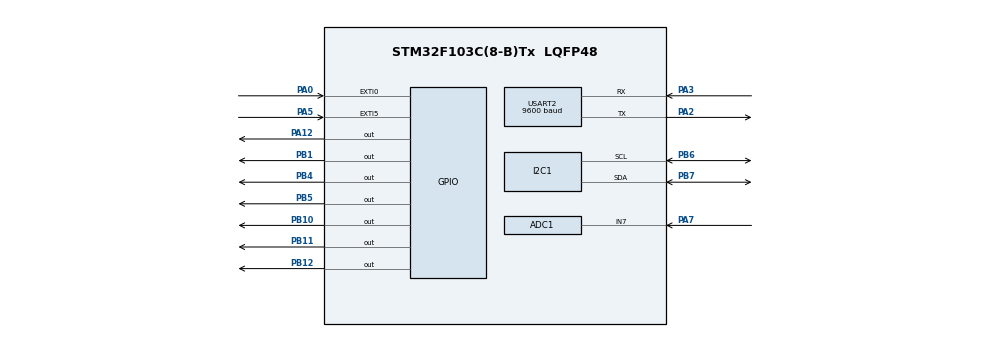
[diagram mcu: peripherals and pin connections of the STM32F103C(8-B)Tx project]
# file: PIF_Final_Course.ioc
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ADC1.Channel-0\#ChannelRegularConversion=ADC_CHANNEL_7
ADC1.NbrOfConversionFlag=1
ADC1.Rank-0\#ChannelRegularConversion=1
ADC1.SamplingTime-0\#ChannelRegularConversion=ADC_SAMPLETIME_1CYCLE_5
ADC1.master=1
Dma.Request0=USART2_RX
Dma.USART2_RX.0.Direction=DMA_PERIPH_TO_MEMORY
Dma.USART2_RX.0.Instance=DMA1_Channel6
Dma.USART2_RX.0.MemDataAlignment=DMA_MDATAALIGN_BYTE
Dma.USART2_RX.0.MemInc=DMA_MINC_ENABLE
Dma.USART2_RX.0.Mode=DMA_NORMAL
Dma.USART2_RX.0.PeriphDataAlignment=DMA_PDATAALIGN_BYTE
Dma.USART2_RX.0.PeriphInc=DMA_PINC_DISABLE
Dma.USART2_RX.0.Priority=DMA_PRIORITY_LOW
Mcu.Family=STM32F1
Mcu.Name=STM32F103C(8-B)Tx
Mcu.Package=LQFP48
NVIC.DMA1_Channel6_IRQn=true\:0\:0\:false\:false\:true\:false\:true\:true
NVIC.EXTI0_IRQn=true\:1\:0\:true\:false\:true\:true\:true\:true
NVIC.EXTI9_5_IRQn=true\:2\:0\:true\:false\:true\:true\:true\:true
NVIC.PriorityGroup=NVIC_PRIORITYGROUP_4
PA0-WKUP.GPIO_PuPd=GPIO_NOPULL
PA0-WKUP.Signal=GPXTI0
PA12.Signal=GPIO_Output
PA13.Mode=Serial_Wire
PA13.Signal=SYS_JTMS-SWDIO
PA14.Mode=Serial_Wire
PA14.Signal=SYS_JTCK-SWCLK
PA2.Mode=Asynchronous
PA2.Signal=USART2_TX
PA3.Mode=Asynchronous
PA3.Signal=USART2_RX
PA5.GPIO_PuPd=GPIO_NOPULL
PA5.Signal=GPXTI5
PA7.Signal=ADCx_IN7
PB1.Signal=GPIO_Output
PB10.Signal=GPIO_Output
PB11.Signal=GPIO_Output
PB12.Signal=GPIO_Output
PB4.Signal=GPIO_Output
PB5.Signal=GPIO_Output
PB6.Mode=I2C
PB6.Signal=I2C1_SCL
PB7.Mode=I2C
PB7.Signal=I2C1_SDA
PD0-OSC_IN.Mode=HSE-External-Oscillator
PD0-OSC_IN.Signal=RCC_OSC_IN
PD1-OSC_OUT.Mode=HSE-External-Oscillator
PD1-OSC_OUT.Signal=RCC_OSC_OUT
ProjectManager.HeapSize=0x200
ProjectManager.StackSize=0x400
ProjectManager.TargetToolchain=STM32CubeIDE
RCC.APB1Freq_Value=8000000
RCC.APB2Freq_Value=8000000
SH.ADCx_IN7.0=ADC1_IN7,IN7
USART2.BaudRate=9600
USART2.VirtualMode=VM_ASYNC
board=custom

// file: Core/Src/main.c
/* USER CODE BEGIN Header */
/**
  ******************************************************************************
  * @file           : main.c
  * @brief          : Main program body
  ******************************************************************************
  * @attention
  *
  * Copyright (c) 2023 STMicroelectronics.
  * All rights reserved.
  *
  * This software is licensed under terms that can be found in the LICENSE file
  * in the root directory of this software component.
  * If no LICENSE file comes with this software, it is provided AS-IS.
  *
  ******************************************************************************
  */
/* The program belong to Nhan , Quoc, Huy Le, Huy Nguyen*/
/* USER CODE END Header */
#include "main.h"

/* USER CODE BEGIN Includes */
#include "string.h"
#include "lcd_i2c.h"
/* USER CODE END Includes */

ADC_HandleTypeDef hadc1;

I2C_HandleTypeDef hi2c1;

UART_HandleTypeDef huart2;
DMA_HandleTypeDef hdma_usart2_rx;

/* USER CODE BEGIN PV */
LCD_I2C_HandleTypeDef p_LCD;
/* USER CODE END PV */

void SystemClock_Config (void);
static void MX_GPIO_Init (void);
static void MX_DMA_Init (void);
static void MX_I2C1_Init (void);
static void MX_USART2_UART_Init (void);
static void MX_ADC1_Init (void);

/* USER CODE BEGIN 0 */
//Phần dưới là khai báo + viết hàm xuất trên solenoid
uint8_t UART1_rxBuffer[1024] = {0};

//char data[1024]
uint8_t input;

int * output;

int dot[63][6] =
		{{0,0,0,0,0,0},{0,1,1,0,1,1},{0,0,0,1,0,0},{0,1,0,1,1,1},{1,1,1,0,0,1},{1,1,0,0,0,1},{1,1,1,0,1,1},{1,0,1,1,1,1},{0,1,1,1,1,1},{1,0,0,0,0,1},{0,1,0,0,1,1} ,{0,0,0,0,0,1} ,{0,0,0,0,1,1},{0,1,0,0,0,1},{0,1,0,0,1,0},
        {0,0,0,1,1,1},{0,0,1,0,0,0},{0,0,1,0,1,0},{0,0,1,1,0,0},{0,0,1,1,0,1},{0,0,1,0,0,1},{0,0,1,1,1,0},{0,0,1,1,1,1},{0,0,1,0,1,1},{0,0,0,1,1,0},{1,0,0,1,0,1},{0,0,0,1,0,1},{1,0,1,0,0,1},{1,1,1,1,1,1},{0,1,0,1,1,0},{1,1,0,1,0,1},
        {0,1,0,0,0,0},{1,0,0,0,0,0},{1,0,1,0,0,0},{1,1,0,0,0,0},{1,1,0,1,0,0},{1,0,0,1,0,0},{1,1,1,0,0,0},{1,1,1,1,0,0},{1,0,1,1,0,0},{0,1,1,0,0,0},{0,1,1,1,0,0},{1,0,0,0,1,0},{1,0,1,0,1,0},{1,1,0,0,1,0},{1,1,0,1,1,0},{1,0,0,1,1,0},{1,1,1,0,1,0},{1,1,1,1,1,0},{1,0,1,1,1,0},{0,1,1,0,1,0},{0,1,1,1,1,0},{1,0,0,0,1,1},{1,0,1,0,1,1},{0,1,1,1,0,1},{1,1,0,0,1,1},{1,1,0,1,1,1},{1,0,0,1,1,1},
        {0,1,1,0,0,1},{1,0,1,1,0,1},{1,1,1,1,0,1},{0,1,0,1,0,0},{0,1,0,1,0,1}};

char ascii[63] = {' ', '!', '"', '#', '$', '%', '&', '(', ')', '*', '+', ',', '-', '.', '/',
		'0', '1', '2', '3', '4', '5', '6', '7', '8', '9', ':', ';', '<', '=', '>', '?', '@',
		'a', 'b', 'c', 'd', 'e', 'f', 'g', 'h', 'i', 'j', 'k', 'l', 'm', 'n', 'o', 'p', 'q',
		'r', 's', 't', 'u', 'v', 'w', 'x', 'y', 'z', '[', '\\', ']', '^', '_'};

void
Display_by_Solenoid (int* output)
{
	if (output[0] == 0)
	{
		HAL_GPIO_WritePin(GPIOB, GPIO_PIN_1, 1);
	}

	if (output[1] == 0)
	{
		HAL_GPIO_WritePin(GPIOB, GPIO_PIN_5, 1);
	}

	if (output[2] == 0)
	{
		HAL_GPIO_WritePin(GPIOB, GPIO_PIN_10, 1);
	}

	if (output[3] == 0)
	{
		HAL_GPIO_WritePin(GPIOB, GPIO_PIN_4, 1);
	}

	if (output[4] == 0)
	{
		HAL_GPIO_WritePin(GPIOB, GPIO_PIN_11,1);
	}

	if (output[5] == 0)
	{
		HAL_GPIO_WritePin(GPIOA, GPIO_PIN_12, 1);
	}

}

void
Capital_Letter ()
{
	HAL_GPIO_WritePin (GPIOB, GPIO_PIN_5, 1);
	HAL_GPIO_WritePin (GPIOA, GPIO_PIN_12, 1);
	//HAL_Delay(1000);
}

void
number ()
{
	HAL_GPIO_WritePin (GPIOB, GPIO_PIN_1,1);
	HAL_GPIO_WritePin (GPIOB, GPIO_PIN_10,1);
	//HAL_Delay(1000);
}

void
chuyen ()
{
	HAL_GPIO_WritePin (GPIOB, GPIO_PIN_1,0);
	HAL_GPIO_WritePin (GPIOB, GPIO_PIN_5,0);
	HAL_GPIO_WritePin (GPIOB, GPIO_PIN_10,0);
	HAL_GPIO_WritePin (GPIOB, GPIO_PIN_4,0);
	HAL_GPIO_WritePin (GPIOB, GPIO_PIN_11,0);
	HAL_GPIO_WritePin (GPIOA, GPIO_PIN_12,0);
	//HAL_Delay(50);
}

//Phần code dưới là xử lý thông tin bluetooth
uint8_t state_send = 0;
uint8_t state_pause = 0;
uint8_t j = 0;

//Khai báo biến chống rung nút nhấn
uint8_t is_debounced1 = 1;
uint32_t debounce_timer1 = 0;

uint8_t is_debounced2 = 1;
uint32_t debounce_timer2 = 0;

void
HAL_GPIO_EXTI_Callback (uint16_t GPIO_Pin)
{
	//saving data
	if(GPIO_Pin == GPIO_PIN_5)
	{
		//if(state_send == 2) state_send = 0;
		//else state_send +=1;
		is_debounced2 = 0;
		debounce_timer2 = HAL_GetTick();
	}

	//pausing data
	else if(GPIO_Pin == GPIO_PIN_0)
	{
		//if(state_pause == 2) state_pause = 0;
		//else state_pause +=1;
		is_debounced1 = 0;
		debounce_timer1 = HAL_GetTick();
	}
}

void
HAL_UART_RxCpltCallback (UART_HandleTypeDef *huart)
{
	HAL_UART_Receive_DMA (&huart2, UART1_rxBuffer, 12);
		  /*if(huart->Instance==huart2.Instance)
		  {
			data = Rx_Buf;
			if(Rx_Buf == 46){
				//Kiểm tra xem có ký tự kết thúc văn bản ./. chưa. Nếu đã kết thúc thì status2 = 1;
				if(status1 == 93){
					if(status == 46){
						status2 = 1;
						status = 0;
						status1 = 0;
					}
				}
			}
			else{
				status1 +=Rx_Buf;
				status +=Rx_Buf;
			}
			HAL_UART_Receive_IT(&huart1,&Rx_Buf,1);
		  }*/
}

void
Saving ()
{
	//try to include a message like: char message[300] "Book mark index is 2024"
	char pData[5] = "Saved";
	HAL_UART_Transmit(&huart2, (uint8_t *)pData, 5 , 1000);

	 	 /*lcd_clear(&p_LCD);
	 	 lcd_i2c_init(&p_LCD, &hi2c1, 16, 2, 0x27<<1);
	 	 lcd_set_cursor(&p_LCD, 0, 0);
	 	 lcd_send_string(&p_LCD, "Saved");*/
}

/* USER CODE END 0 */

int
main (void)
{
  /* USER CODE BEGIN 1 */

//B1: 1; B8: 2; B10: 3; B4: 4; B11: 5; B3: 6

  /* USER CODE END 1 */

  /* MCU Configuration--------------------------------------------------------*/

  /* Reset of all peripherals, Initializes the Flash interface and the Systick. */
  HAL_Init();

  /* Configure the system clock */
  SystemClock_Config();

  /* Initialize all configured peripherals */
  MX_GPIO_Init();
  MX_DMA_Init();
  MX_I2C1_Init();
  MX_USART2_UART_Init();
  MX_ADC1_Init();
  /* USER CODE BEGIN 2 */
  //HAL_UART_Receive_IT(&huart1,&Rx_Buf,1);
  uint32_t timing = HAL_GetTick();
  uint8_t capital_letter = 0;
  uint8_t number_state = 0;
  int t = 0;

  HAL_UART_Receive_DMA (&huart2, UART1_rxBuffer, 12);
  lcd_i2c_init (&p_LCD, &hi2c1, 16, 2, 0x27<<1);
  lcd_set_cursor (&p_LCD, 0, 0);
  lcd_send_string (&p_LCD, "Started reading");
  HAL_Delay (2000);
  lcd_clear (&p_LCD);

  //Tốc độ
  //float rate=HAL_ADC_GetValue(&hadc1);
  int speed = 2000;
  /*if(rate <= 1000) speed = 2000;
  	 else if(rate <= 1000) speed = 1000;
	 else if(rate <= 2000) speed = 500;
	 else speed = 200;
	*/
  /* USER CODE END 2 */

  /* Infinite loop */
  while (1)
  {

    /* USER CODE BEGIN 3 */
	//Chong rung ngat
	if ((is_debounced1 == 0) && ((HAL_GetTick() - debounce_timer1) >= 100))
	{
	  	is_debounced1 = 1;
	  	HAL_GPIO_TogglePin (GPIOC, GPIO_PIN_13);
	  	if(state_pause == 2)
	  	{
	  		state_pause = 0;
	  	}

	  	else
	  	{
	  		state_pause += 1;
	  	}
	}

	//In du lieu
	if (state_pause == 0)
	{
		lcd_set_cursor (&p_LCD,0,0);
		lcd_clear (&p_LCD);
	  	for (int i = 0; i < strlen ((const char *) UART1_rxBuffer); i++)
	  	{
	  		input = UART1_rxBuffer[t];
				//printing in LCD
			lcd_i2c_init(&p_LCD, &hi2c1, 16, 2, 0x27<<1);
			if (i > 31)
			{
				lcd_set_cursor(&p_LCD,0,0);
				lcd_clear(&p_LCD);
				i = -1;
				continue;
			}

			else if (i>15)
			{
				lcd_set_cursor(&p_LCD, i-16, 1);
				lcd_send_data(&p_LCD, UART1_rxBuffer[t]);
			}

			else
			{
				lcd_set_cursor(&p_LCD, i, 0);
				lcd_send_data(&p_LCD, UART1_rxBuffer[t]);
			}

			//printing by solenoid
			if ((input >= 65) && (input <= 90))
			{
				input += 32;
				capital_letter = 1;
			}

			else if ((input >= '0') && (input <= '9'))
			{
				number_state = 1;
				input += 49;
			}

			for (int j=0; j < sizeof(ascii);j++)
			{
				if (input == ascii[j])
				{
					output = dot[j];
					if (capital_letter == 1)
					{
						while ((HAL_GetTick() - timing) <= speed / 2) Capital_Letter();
						timing = HAL_GetTick();
					}

					else if (number_state == 1)
					{
						while ((HAL_GetTick() - timing) <= speed / 2) number();
						timing = HAL_GetTick();
					}

					while ((HAL_GetTick() - timing) <= speed)
					{
						Display_by_Solenoid(output);
					}

					timing = HAL_GetTick();

							//transition
					while ((HAL_GetTick() - timing) <= 50) chuyen();

					timing = HAL_GetTick();
					break;
					}
				}
	  	//move to next character
	  		t++;

	  		if ((is_debounced1 == 0) && ((HAL_GetTick() - debounce_timer1) >= 100))
	  		{
	  			is_debounced1 = 1;
	  			HAL_GPIO_TogglePin (GPIOC, GPIO_PIN_13);
	  			if(state_pause == 2)
	  			{
	  				state_pause = 0;
	  			}

	  			else
	  			{
	  				state_pause += 1;
	  			}
	  		}

	  		if (state_pause == 1)
	  		{
	     	  	lcd_set_cursor(&p_LCD,0,0);
	     	  	lcd_clear(&p_LCD);
	     	  	lcd_send_string(&p_LCD, "Pausing");
	     	  	break;
	  		}

	  		if ((is_debounced2 == 0) && ((HAL_GetTick() - debounce_timer2) >= 100))
	  		{
	  			is_debounced2 = 1;
	  			HAL_GPIO_TogglePin (GPIOC, GPIO_PIN_13);
	  			if(state_send == 2) state_send = 0;
	  			else state_send += 1;
	  		}

	  		if (state_send == 1)
	  		{
	  			Saving();
	  		}

	  		if (t == strlen((const char *) UART1_rxBuffer))
	  		{
				t = 0;
				lcd_set_cursor (&p_LCD, 0, 0);
				lcd_clear (&p_LCD);
				lcd_send_string (&p_LCD, "Finish reading");
				break;
	  		}
	  	}

	  	while (state_pause == 1){
	  		lcd_set_cursor(&p_LCD,0,0);
	  		lcd_clear(&p_LCD);
	  		lcd_send_string(&p_LCD, "Pausing");

	  		if (state_send == 1)
	  		{
	  			Saving();
	  		}

	  		if ((is_debounced1 == 0) && ((HAL_GetTick() - debounce_timer1) >= 100))
	  		{
	  			is_debounced1 = 1;
	  			HAL_GPIO_TogglePin(GPIOC, GPIO_PIN_13);
	  			if(state_pause == 2)
	  			{
	  				state_pause = 0;
	  			}

	  			else
	  			{
	  				state_pause +=1;
	  			}
	  		}

	  		if (state_pause == 0)
	  		{
	  			continue;
	  		}
	  	}
	}
  }
  /* USER CODE END 3 */
}

void SystemClock_Config(void)
{
  RCC_OscInitTypeDef RCC_OscInitStruct = {0};
  RCC_ClkInitTypeDef RCC_ClkInitStruct = {0};
  RCC_PeriphCLKInitTypeDef PeriphClkInit = {0};

  /** Initializes the RCC Oscillators according to the specified parameters
  * in the RCC_OscInitTypeDef structure.
  */
  RCC_OscInitStruct.OscillatorType = RCC_OSCILLATORTYPE_HSI;
  RCC_OscInitStruct.HSIState = RCC_HSI_ON;
  RCC_OscInitStruct.HSICalibrationValue = RCC_HSICALIBRATION_DEFAULT;
  RCC_OscInitStruct.PLL.PLLState = RCC_PLL_NONE;
  if (HAL_RCC_OscConfig(&RCC_OscInitStruct) != HAL_OK)
  {
    Error_Handler();
  }

  /** Initializes the CPU, AHB and APB buses clocks
  */
  RCC_ClkInitStruct.ClockType = RCC_CLOCKTYPE_HCLK|RCC_CLOCKTYPE_SYSCLK
                              |RCC_CLOCKTYPE_PCLK1|RCC_CLOCKTYPE_PCLK2;
  RCC_ClkInitStruct.SYSCLKSource = RCC_SYSCLKSOURCE_HSI;
  RCC_ClkInitStruct.AHBCLKDivider = RCC_SYSCLK_DIV1;
  RCC_ClkInitStruct.APB1CLKDivider = RCC_HCLK_DIV1;
  RCC_ClkInitStruct.APB2CLKDivider = RCC_HCLK_DIV1;

  if (HAL_RCC_ClockConfig(&RCC_ClkInitStruct, FLASH_LATENCY_0) != HAL_OK)
  {
    Error_Handler();
  }
  PeriphClkInit.PeriphClockSelection = RCC_PERIPHCLK_ADC;
  PeriphClkInit.AdcClockSelection = RCC_ADCPCLK2_DIV2;
  if (HAL_RCCEx_PeriphCLKConfig(&PeriphClkInit) != HAL_OK)
  {
    Error_Handler();
  }
}

static void MX_ADC1_Init(void)
{

  ADC_ChannelConfTypeDef sConfig = {0};

  /** Common config
  */
  hadc1.Instance = ADC1;
  hadc1.Init.ScanConvMode = ADC_SCAN_DISABLE;
  hadc1.Init.ContinuousConvMode = DISABLE;
  hadc1.Init.DiscontinuousConvMode = DISABLE;
  hadc1.Init.ExternalTrigConv = ADC_SOFTWARE_START;
  hadc1.Init.DataAlign = ADC_DATAALIGN_RIGHT;
  hadc1.Init.NbrOfConversion = 1;
  if (HAL_ADC_Init(&hadc1) != HAL_OK)
  {
    Error_Handler();
  }

  /** Configure Regular Channel
  */
  sConfig.Channel = ADC_CHANNEL_7;
  sConfig.Rank = ADC_REGULAR_RANK_1;
  sConfig.SamplingTime = ADC_SAMPLETIME_1CYCLE_5;
  if (HAL_ADC_ConfigChannel(&hadc1, &sConfig) != HAL_OK)
  {
    Error_Handler();
  }

}

static void MX_I2C1_Init(void)
{

  hi2c1.Instance = I2C1;
  hi2c1.Init.ClockSpeed = 100000;
  hi2c1.Init.DutyCycle = I2C_DUTYCYCLE_2;
  hi2c1.Init.OwnAddress1 = 0;
  hi2c1.Init.AddressingMode = I2C_ADDRESSINGMODE_7BIT;
  hi2c1.Init.DualAddressMode = I2C_DUALADDRESS_DISABLE;
  hi2c1.Init.OwnAddress2 = 0;
  hi2c1.Init.GeneralCallMode = I2C_GENERALCALL_DISABLE;
  hi2c1.Init.NoStretchMode = I2C_NOSTRETCH_DISABLE;
  if (HAL_I2C_Init(&hi2c1) != HAL_OK)
  {
    Error_Handler();
  }

}

static void MX_USART2_UART_Init(void)
{

  huart2.Instance = USART2;
  huart2.Init.BaudRate = 9600;
  huart2.Init.WordLength = UART_WORDLENGTH_8B;
  huart2.Init.StopBits = UART_STOPBITS_1;
  huart2.Init.Parity = UART_PARITY_NONE;
  huart2.Init.Mode = UART_MODE_TX_RX;
  huart2.Init.HwFlowCtl = UART_HWCONTROL_NONE;
  huart2.Init.OverSampling = UART_OVERSAMPLING_16;
  if (HAL_UART_Init(&huart2) != HAL_OK)
  {
    Error_Handler();
  }

}

static void MX_DMA_Init(void)
{

  /* DMA controller clock enable */
  __HAL_RCC_DMA1_CLK_ENABLE();

  /* DMA interrupt init */
  /* DMA1_Channel6_IRQn interrupt configuration */
  HAL_NVIC_SetPriority(DMA1_Channel6_IRQn, 0, 0);
  HAL_NVIC_EnableIRQ(DMA1_Channel6_IRQn);

}

static void MX_GPIO_Init(void)
{
  GPIO_InitTypeDef GPIO_InitStruct = {0};

  /* GPIO Ports Clock Enable */
  __HAL_RCC_GPIOD_CLK_ENABLE();
  __HAL_RCC_GPIOA_CLK_ENABLE();
  __HAL_RCC_GPIOB_CLK_ENABLE();

  /*Configure GPIO pin Output Level */
  HAL_GPIO_WritePin(GPIOB, GPIO_PIN_1|GPIO_PIN_10|GPIO_PIN_11|GPIO_PIN_12
                          |GPIO_PIN_4|GPIO_PIN_5, GPIO_PIN_RESET);

  /*Configure GPIO pin Output Level */
  HAL_GPIO_WritePin(GPIOA, GPIO_PIN_12, GPIO_PIN_RESET);

  /*Configure GPIO pins : PA0 PA5 */
  GPIO_InitStruct.Pin = GPIO_PIN_0|GPIO_PIN_5;
  GPIO_InitStruct.Mode = GPIO_MODE_IT_RISING;
  GPIO_InitStruct.Pull = GPIO_NOPULL;
  HAL_GPIO_Init(GPIOA, &GPIO_InitStruct);

  /*Configure GPIO pins : PB1 PB10 PB11 PB12
                           PB4 PB5 */
  GPIO_InitStruct.Pin = GPIO_PIN_1|GPIO_PIN_10|GPIO_PIN_11|GPIO_PIN_12
                          |GPIO_PIN_4|GPIO_PIN_5;
  GPIO_InitStruct.Mode = GPIO_MODE_OUTPUT_PP;
  GPIO_InitStruct.Pull = GPIO_NOPULL;
  GPIO_InitStruct.Speed = GPIO_SPEED_FREQ_LOW;
  HAL_GPIO_Init(GPIOB, &GPIO_InitStruct);

  /*Configure GPIO pin : PA12 */
  GPIO_InitStruct.Pin = GPIO_PIN_12;
  GPIO_InitStruct.Mode = GPIO_MODE_OUTPUT_PP;
  GPIO_InitStruct.Pull = GPIO_NOPULL;
  GPIO_InitStruct.Speed = GPIO_SPEED_FREQ_LOW;
  HAL_GPIO_Init(GPIOA, &GPIO_InitStruct);

  /* EXTI interrupt init*/
  HAL_NVIC_SetPriority(EXTI0_IRQn, 1, 0);
  HAL_NVIC_EnableIRQ(EXTI0_IRQn);

  HAL_NVIC_SetPriority(EXTI9_5_IRQn, 2, 0);
  HAL_NVIC_EnableIRQ(EXTI9_5_IRQn);

}

void Error_Handler(void)
{
  __disable_irq();
  while (1)
  {
  }
}

/* Coding convention sucks <(") */
